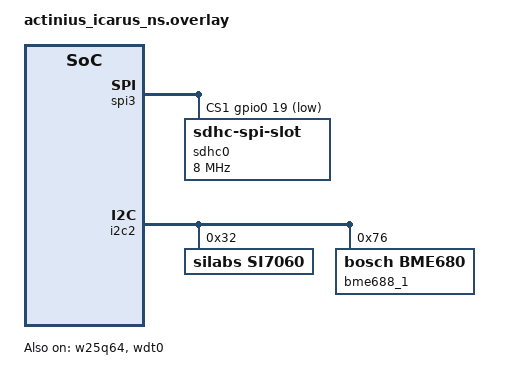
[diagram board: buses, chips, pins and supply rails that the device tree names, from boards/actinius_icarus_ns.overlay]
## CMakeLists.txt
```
#
# Copyright (c) 2023 Nordic Semiconductor
#
# SPDX-License-Identifier: LicenseRef-Nordic-5-Clause
#

cmake_minimum_required(VERSION 3.20.0)

find_package(Zephyr REQUIRED HINTS $ENV{ZEPHYR_BASE})

project(modem_and_sensor)

#set(mcuboot_CONF_FILE ${CMAKE_CURRENT_SOURCE_DIR}/child_image/mcuboot/mcuboot.conf)

#set(CONFIG_BOOTLOADER_MCUBOOT ON CACHE BOOL "" FORCE)

#set(CONFIG_PM_EXTERNAL_FLASH_MCUBOOT_SECONDARY ON CACHE BOOL "" FORCE)

#include(${ZEPHYR_BASE}/../nrf/cmake/mcuboot.cmake)

# Add the project path to the include directories
include_directories(${CMAKE_SOURCE_DIR})

include_directories(${CMAKE_SOURCE_DIR}/src)

#aggiunta gestione linguaggio C e C++
project(modem_and_sensor LANGUAGES C CXX) 

# Recursively include all .c, .cpp, and .h files in src and its subdirectories
FILE(GLOB_RECURSE app_sources src/*.c src/*.cpp src/*.h src/**/*.c src/**/*.cpp src/**/*.h)

# target_compile_options(app PRIVATE -fpermissive)

# Suppress the error only for the coap.h file
target_compile_options(app PRIVATE $<$<COMPILE_LANGUAGE:CXX>:-fpermissive>)

# NORDIC SDK APP START


target_sources(app PRIVATE ${app_sources})

target_include_directories(app PRIVATE
    src
)

# Conditionally include secure MQTT overlay
if(CONFIG_ENABLE_SECURE_MQTT)
  set(OVERLAY_CONFIG secure_mqtt.conf)
endif()


zephyr_include_directories($ENV{ZEPHYR_BASE}/../nrf/include)

zephyr_include_directories($ENV{ZEPHYR_BASE}/../nrf/include/modem)

zephyr_include_directories($ENV{ZEPHYR_BASE}/../nrf/include/net)

zephyr_include_directories($ENV{ZEPHYR_BASE}/../modules/lib/cjson/)

zephyr_include_directories($ENV{ZEPHYR_BASE}/../modules/lib/date_time/)

zephyr_include_directories($ENV{ZEPHYR_BASE}/../modules/fs/fatfs/include)

zephyr_include_directories($ENV{ZEPHYR_BASE}/../modules/hal_nordic/nrf)

zephyr_include_directories($ENV{ZEPHYR_BASE}/../modules/hal/nordic/nrf)

zephyr_include_directories($ENV{ZEPHYR_BASE}/../drivers)

#zephyr_include_directories($ENV{ZEPHYR_BASE}/include)

zephyr_include_directories($ENV{ZEPHYR_BASE}/subsys/net/lib/sockets)

#zephyr_include_directories($ENV{ZEPHYR_BASE}/../drivers/sensors)




target_link_libraries(app PRIVATE stdc++)

# NORDIC SDK APP END
```

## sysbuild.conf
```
#https://docs.nordicsemi.com/bundle/ncs-latest/page/nrf/releases_and_maturity/migration/migration_sysbuild.html
SB_CONFIG_BOOTLOADER_MCUBOOT=y
# Signing key
SB_CONFIG_BOOT_SIGNATURE_KEY_FILE="\${APPLICATION_CONFIG_DIR}/priv.pem"
# Place secondary slot in external flash
SB_CONFIG_PM_EXTERNAL_FLASH_MCUBOOT_SECONDARY=y
# Allow SPI NOR driver to be used for the external memory region
SB_CONFIG_PM_OVERRIDE_EXTERNAL_DRIVER_CHECK=y
```

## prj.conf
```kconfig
#
# Copyright (c) 2023 Nordic Semiconductor
#
# SPDX-License-Identifier: LicenseRef-Nordic-5-Clause
#


CONFIG_MULTITHREADING=y
CONFIG_NUM_COOP_PRIORITIES=16
CONFIG_MAIN_STACK_SIZE=8192
CONFIG_SYSTEM_WORKQUEUE_STACK_SIZE=2048 


CONFIG_SENSOR=y
CONFIG_SENSOR_INFO=y

# Accelerometer

CONFIG_I2C=y
CONFIG_LIS2DH=y
CONFIG_LIS2DH_TRIGGER_GLOBAL_THREAD=y

CONFIG_BME680=n
CONFIG_BME68X_IAQ=y

CONFIG_GPIO=y

# Settings - Used to store real-time device configuration to flash.
CONFIG_SETTINGS=y
CONFIG_SETTINGS_FCB=y
CONFIG_FCB=y
CONFIG_FLASH=y
CONFIG_FLASH_PAGE_LAYOUT=y
CONFIG_FLASH_MAP=y
CONFIG_STREAM_FLASH=y
CONFIG_MPU_ALLOW_FLASH_WRITE=y

CONFIG_LOG=y
CONFIG_CONSOLE=y
CONFIG_MQTT_LOG_LEVEL_DBG=y

CONFIG_ASSERT=y
CONFIG_REBOOT=y
CONFIG_FPU=y

CONFIG_EVENTS=y


# LTE link control
CONFIG_LTE_LINK_CONTROL=y

# Modem library

CONFIG_NRF_MODEM_LIB=y

# Increase AT monitor heap because %NCELLMEAS notifications can be large
CONFIG_AT_MONITOR_HEAP_SIZE=1024

# Network
CONFIG_NETWORKING=y
CONFIG_NET_SOCKETS=y
CONFIG_HEAP_MEM_POOL_SIZE=8192 
CONFIG_NET_IPV4=y
CONFIG_NET_TCP=y


CONFIG_ENTROPY_GENERATOR=y
CONFIG_TEST_RANDOM_GENERATOR=y

# MQTT
CONFIG_MQTT_HELPER=y
CONFIG_MQTT_HELPER_PORT=1883 


# JSON
CONFIG_CJSON_LIB=y

#libraria date time per lettura da internet
CONFIG_DATE_TIME=y
CONFIG_DATE_TIME_MODEM=y
CONFIG_DATE_TIME_NTP=y


# Enable the watchdog timer
CONFIG_WATCHDOG=y
CONFIG_WDT_DISABLE_AT_BOOT=y



#per download client library
CONFIG_DOWNLOAD_CLIENT=y
CONFIG_DOWNLOAD_CLIENT_BUF_SIZE=2048
CONFIG_DOWNLOAD_CLIENT_STACK_SIZE=4096


CONFIG_HWINFO=y



#per SD Card
# e SPI NOR

CONFIG_DISK_DRIVER_SDMMC=y
CONFIG_DISK_ACCESS=y
CONFIG_FILE_SYSTEM=y
CONFIG_FAT_FILESYSTEM_ELM=y

CONFIG_SPI=y
CONFIG_SPI_NOR=y

CONFIG_SDMMC_SUBSYS=y
CONFIG_SPI_LOG_LEVEL_DBG=y
CONFIG_FLASH_LOG_LEVEL_DBG=y


CONFIG_BUILD_WITH_TFM=y
CONFIG_TFM_SECURE_UART=n
CONFIG_TFM_LOG_LEVEL_SILENCE=y


CONFIG_BOOTLOADER_MCUBOOT=y
CONFIG_IMG_MANAGER=y
CONFIG_MCUBOOT_IMG_MANAGER=y
```

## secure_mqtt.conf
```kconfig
CONFIG_MQTT_HELPER=y
CONFIG_MQTT_HELPER_NATIVE_TLS=y
CONFIG_MQTT_HELPER_PORT=8883
CONFIG_MQTT_HELPER_SEC_TAG=24
CONFIG_MQTT_HELPER_PROVISION_CERTIFICATES=y
CONFIG_MQTT_HELPER_CERTIFICATES_FOLDER="certificates"
```

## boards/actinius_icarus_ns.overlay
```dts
// To get started, press Ctrl+Space to bring up the completion menu and view the available nodes.
// For more help, browse the DeviceTree documentation at https://docs.zephyrproject.org/latest/guides/dts/index.html

/* Add external flash to application */
&w25q64 {
    status = "okay";
};

/ {
    chosen {
        nordic,pm-ext-flash = &w25q64;
    };
};

&spi3 {
    compatible = "nordic,nrf-spim";
    status = "okay";
    cs-gpios = <&gpio0 25 GPIO_ACTIVE_LOW>,<&gpio0 19 GPIO_ACTIVE_LOW>;

    sdhc0: sdhc@1 {
        compatible = "zephyr,sdhc-spi-slot";
        reg = <1>;
        status = "okay";
        mmc {
            compatible = "zephyr,sdmmc-disk";
            status = "okay";
        };
        spi-max-frequency = <8000000>;
    };
};

&pinctrl {
    spi3_default: spi3_default {
        group1 {
            psels = <NRF_PSEL(SPIM_SCK, 0, 20)>,
                    <NRF_PSEL(SPIM_MOSI, 0, 21)>,
                    <NRF_PSEL(SPIM_MISO, 0, 22)>;
        };
    };

    spi3_sleep: spi3_sleep {
        group1 {
            psels = <NRF_PSEL(SPIM_SCK, 0, 20)>,
                    <NRF_PSEL(SPIM_MOSI, 0, 21)>,
                    <NRF_PSEL(SPIM_MISO, 0, 22)>;
            low-power-enable;
        };
    };
};




&i2c2 {
    si7060: si7060@32 {
        compatible = "silabs,si7060";
        label = "si7060";
        reg = <0x32>;
    };
	bme688_1: bme688-1@76 {
        compatible = "bosch,bme680";
        label = "bme688_1";
        reg = <0x76>;
    };
};

&sim_select {
    sim = "external";
};

&wdt0 {
    status = "okay";
};
```

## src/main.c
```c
/*
 * Copyright (c) 2023 Nordic Semiconductor ASA.
 *
 * SPDX-License-Identifier: LicenseRef-Nordic-5-Clause
 */

#include "initializer.h"

#include <zephyr/dfu/mcuboot.h>


int main(void)
{

	if (!boot_is_img_confirmed()) {
		// Mark the ota image as installed so we don't revert
		printk("Confirming OTA update\n");

		int ret = boot_write_img_confirmed();
		if (ret == 0) {
			printk("Image confirmed successfully\n");
		} else {
			printk("Failed to confirm image: %d\n", ret);
		}		
    }
	//inizializza i threads
	initialize();

	return 0;
}
```

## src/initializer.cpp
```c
#include "initializer.h"

#include "SensorThread/CSensorThread.h"

#include "LoggerThread/CLoggerThread.h"

#include "NetworkService/CModemSetupThread.h"

#include "MqttHelper/CMqttHelperThread.h"

#include "Leds/CLedsThread.h"

#include "DateTimeThread/CDateTimeThread.h"

#include "Test/CLteTestDisconnectThread.h"

#include "WdtThread/CWdtThread.h"

#include "Test/CWdtTestKernelPanic.h"

#include "SdCard/CSdCardThread.h"

#include "SdCard/CFileIoWrapper.h"

#include "NorHelper/CNorHelper.h"

#include "WriteSdCardToNor/CWriteOnSdCard.h"

#include "structures.h"

#include <zephyr/kernel.h>

#include <stdint.h>

#include "Factory/CFactoryThread.h"

#include "Logger/CLogger.h"

#include "ClientLibrary/CDownloadClient.h"

#include <nrfx.h>

#include <nrfx_config_nrf91.h>

#include "Logger/CLogger.h"



char __aligned(4) my_msgq_sensor[MSG_SENSOR_MAX_MSGS * sizeof(struct messageSensor)];
char __aligned(4) my_msgq_buffer[MSGQ_MAX_MSGS * sizeof(struct my_msg)];
char __aligned(4) my_msgq_logger[MSGQ_MAX_MSGS_LOGGER * sizeof(struct logger_msg)];
char __aligned(4) my_msgq_leds[10 * sizeof(struct my_msg)];
char __aligned(4) my_msgq_nor[1 * sizeof(struct my_msg)];


void initMessageQueue(void){

    k_msgq_init(&CBaseThread::sensorQueueMessage,&my_msgq_sensor[0], sizeof(struct messageSensor), MSG_SENSOR_MAX_MSGS);

    k_msgq_init(&CBaseThread::loggerQueueMessage,&my_msgq_logger[0], sizeof(struct logger_msg), MSGQ_MAX_MSGS_LOGGER);

    k_msgq_init(&CBaseThread::msgDownloadClient,&my_msgq_buffer[0], sizeof(struct my_msg), 1);

    k_msgq_init(&CBaseThread::msgAckClient,&my_msgq_buffer[0], sizeof(struct my_msg), 1);

    k_msgq_init(&CBaseThread::blinkQueueMessage,&my_msgq_leds[0], sizeof(struct my_msg), 10);

    k_msgq_init(&CBaseThread::copySdToNor,&my_msgq_nor[0], sizeof(struct my_msg), 1);

}


void initSemaphore(void){

    k_event_init(&CBaseThread::lte_event_flags);

    k_event_init(&CBaseThread::mqttMessageInQueueFlag);

   
    
}

void initMutex(void){

    k_mutex_init(&CBaseThread::fileIoMutex);

    k_mutex_init(&CBaseThread::firmwareUpgradeMutex);
}

K_THREAD_STACK_DEFINE(thread_logger_stack, DEFAULT_THREAD_STACK_SIZE);
 
K_THREAD_STACK_DEFINE(thread_leds_stack, DEFAULT_THREAD_STACK_SIZE);

K_THREAD_STACK_DEFINE(thread_sensor_stack, DEFAULT_THREAD_STACK_SIZE);

K_THREAD_STACK_DEFINE(thread_modem_stack, 8192);

K_THREAD_STACK_DEFINE(thread_mqtt_stack, 8192);

K_THREAD_STACK_DEFINE(thread_utc_time, DEFAULT_THREAD_STACK_SIZE);

K_THREAD_STACK_DEFINE(thread_date_time, DEFAULT_THREAD_STACK_SIZE);

K_THREAD_STACK_DEFINE(thread_wdt, DEFAULT_THREAD_STACK_SIZE);

K_THREAD_STACK_DEFINE(thread_disconnect, DEFAULT_THREAD_STACK_SIZE);

K_THREAD_STACK_DEFINE(thread_test_wdt, DEFAULT_THREAD_STACK_SIZE);

K_THREAD_STACK_DEFINE(thread_download_client_stack, 8192);

K_THREAD_STACK_DEFINE(thread_sd_card_stack, DEFAULT_THREAD_STACK_SIZE);

K_THREAD_STACK_DEFINE(thread_write_nor, 8192);


struct k_thread thread_logger_data;

struct k_thread thread_leds_data;

struct k_thread thread_sensor_data;

struct k_thread thread_modem_data;

struct k_thread thread_mqtt_data;

struct k_thread thread_utc_time_data;

struct k_thread thread_date_time_data;

struct k_thread thread_wdt_data;

struct k_thread thread_disconnect_data;

struct k_thread thread_test_wdt_data;

struct k_thread thread_download_client_data;

struct k_thread thread_sd_card_data;

struct k_thread thread_write_nor_data;

#define VERSION_MAJOR 1

#define VERSION_MINOR 3

#define PATCH 0

#define BUILD 0

void initialize(void){


    initMessageQueue();

    initSemaphore();    

    initMutex();


    CBaseThread::setRelease();

    CLogger::getInstance()->log("Release version %2d.%2d\n",VERSION_MAJOR,VERSION_MINOR);

    CBaseThread::read_otp_value();
    
    CLogger::getInstance()->log("Creazione dei threads\n");

    CLoggerThread *pLoggerThread = new CLoggerThread();
 
    k_tid_t id1 = k_thread_create(&thread_logger_data,thread_logger_stack, DEFAULT_THREAD_STACK_SIZE, &CBaseThread::handlerRun, pLoggerThread, NULL, NULL, 10, 0, K_NO_WAIT);

    k_thread_name_set(id1,"LoggerThread");


    CLedsThread *pLedsThread = new CLedsThread();

    k_tid_t id2 = k_thread_create(&thread_leds_data,thread_leds_stack, DEFAULT_THREAD_STACK_SIZE, &CBaseThread::handlerRun, pLedsThread, NULL, NULL, 6, 0, K_NO_WAIT);
    
    k_thread_name_set(id2,"LedsThread");


 
    CSensorThread *pSensorThread = new CSensorThread();

    k_tid_t id3 = k_thread_create(&thread_sensor_data,thread_sensor_stack, DEFAULT_THREAD_STACK_SIZE, &CBaseThread::handlerRun, pSensorThread, NULL, NULL, 7, 0, K_NO_WAIT);

    k_thread_name_set(id3,"SensorThread");



    // CModemSetupThread *pModemThread = new CModemSetupThread();

    // k_tid_t id4 = k_thread_create(&thread_modem_data,thread_modem_stack, 8196, &CBaseThread::handlerRun, pModemThread, NULL, NULL, 2, 0, K_NO_WAIT);

    // k_thread_name_set(id4,"ModemSetup");



    CMqttHelperThread *pMqttThread = new CMqttHelperThread();   

    k_tid_t id5 = k_thread_create(&thread_mqtt_data,thread_mqtt_stack, 8196, &CBaseThread::handlerRun, pMqttThread, NULL, NULL, 1, 0, K_NO_WAIT);

    k_thread_name_set(id5,"MqttHelper");



    CDateTimeThread *pDateTimeThread = new CDateTimeThread();

    k_tid_t id7 = k_thread_create(&thread_date_time_data,thread_date_time, DEFAULT_THREAD_STACK_SIZE, &CBaseThread::handlerRun, pDateTimeThread, NULL, NULL, 10, 0, K_NO_WAIT);

    k_thread_name_set(id7,"DateTimeThread");



    //ABILITARE SOLO IN RELEASE
    // CWdtThread *pWdtThread = new CWdtThread();

    // k_tid_t id9 = k_thread_create(&thread_wdt_data,thread_wdt, DEFAULT_THREAD_STACK_SIZE, &CBaseThread::handlerRun, pWdtThread, NULL, NULL, 10, 0, K_NO_WAIT);

/*
    TEST THREAD
*/

    // CTestDisconnectThread *pDisconnectThread = new CTestDisconnectThread();

    // k_tid_t id8 = k_thread_create(&thread_disconnect_data,thread_disconnect, DEFAULT_THREAD_STACK_SIZE, &CBaseThread::handlerRun, pDisconnectThread, NULL, NULL, 10, 0, K_NO_WAIT);


    //serve per scrivere su NOR il programma di update quando viene premuto il button
    CWdtTestKernelPanic *pTestWdtThread = new CWdtTestKernelPanic();

    k_tid_t id10 = k_thread_create(&thread_test_wdt_data,thread_test_wdt, DEFAULT_THREAD_STACK_SIZE, &CBaseThread::handlerRun, pTestWdtThread, NULL, NULL, 10, 0, K_NO_WAIT);


    CDownloadClient *pDownloadClient = new CDownloadClient();

    k_tid_t id11 = k_thread_create(&thread_download_client_data,thread_download_client_stack, 8192, &CBaseThread::handlerRun, pDownloadClient, NULL, NULL, 10, 0, K_NO_WAIT);

    k_thread_name_set(id11,"DownloadClient");



    CWriteOnSdCard *pWriteOnSdCard = new CWriteOnSdCard();

    k_tid_t id12 = k_thread_create(&thread_write_nor_data,thread_write_nor, 8192, &CBaseThread::handlerRun, pWriteOnSdCard, NULL, NULL, 10, 0, K_NO_WAIT);

    k_thread_name_set(id12,"WriteOnSdCard");


    // CSdCardThread *pSdCardThread = new CSdCardThread();
    
    // k_tid_t id12 = k_thread_create(&thread_sd_card_data,thread_sd_card_stack, 8192, &CBaseThread::handlerRun, pSdCardThread, NULL, NULL, 10, 0, K_NO_WAIT);


    
}
```

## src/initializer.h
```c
// Initializer.h
#ifndef INITIALIZER_H
#define INITIALIZER_H



#ifdef __cplusplus
extern "C" {

    #include <zephyr/kernel.h>
    
#endif



#define     USE_WIFI    1

#define     USE_HELPER_MQTT    1

void initMessageQueue(void);

void initMutex(void);

void initSemaphore(void);

void initialize(void);


#ifdef __cplusplus
}
#endif

#endif // INITIALIZER_H
```

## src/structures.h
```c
#pragma once

#include <zephyr/drivers/sensor.h>

#define     MSG_SENSOR_MAX_MSGS 10

#define     MSGQ_MAX_MSGS 10

#define     MSGQ_MAX_MSGS_LOGGER 20

#define     MSGQ_ALIGN 4

struct messageSensor{

    sensor_value temp;
    sensor_value press;
    sensor_value humidity;
    sensor_value iaq;
    sensor_value co2;
    sensor_value voc;

};





enum my_msgq_type {
    TURN_LED_RED,
    TURN_LED_GREEN,
    TURN_LED_BLUE,
    TURN_LED_OFF,
    WIFI_CONNECT,
    WIFI_DISCONNECT,
    TURN_LED_GREEN_BLINKING,
    TURN_LED_BLUE_BLINKING,
    DOWNLOAD_CONFIG,
    DOWNLOAD_FIRMWARE,
    DOWNLOAD_ACK_FIRMWARE,
    DOWNLOAD_ACK_CONFIG,
    DOWNLOAD_ACK,
    DOWNLOAD_NACK,
    COPY_FROM_SD_TO_NOR,
};

struct my_msg {

    my_msgq_type data;

};

struct logger_msg{

    char msg[128];

};


extern char __aligned(4) my_msgq_sensor[MSG_SENSOR_MAX_MSGS * sizeof(struct messageSensor)];

extern char __aligned(4) my_msgq_buffer[MSGQ_MAX_MSGS * sizeof(struct my_msg)];

extern char __aligned(4) my_msgq_logger[MSGQ_MAX_MSGS_LOGGER * sizeof(struct logger_msg)];

extern char __aligned(4) my_msgq_leds[10 * sizeof(struct my_msg)];
```
